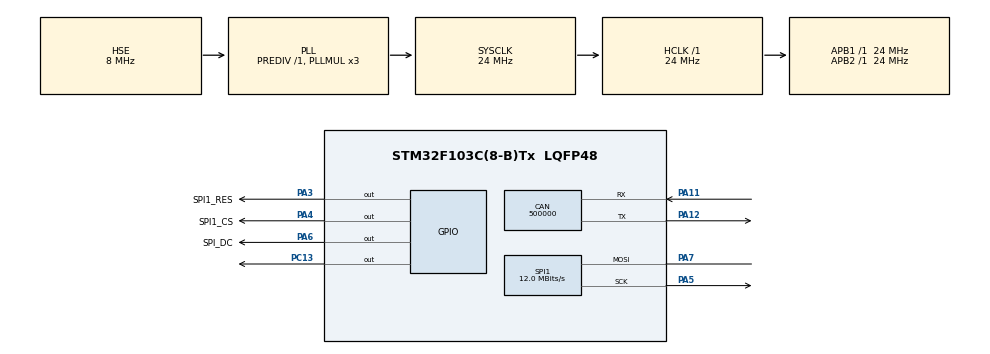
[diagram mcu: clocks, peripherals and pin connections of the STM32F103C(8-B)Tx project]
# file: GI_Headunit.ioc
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CAN.CalculateBaudRate=500000
CAN.CalculateTimeBit=2000
CAN.CalculateTimeQuantum=666.6666666666666
Mcu.Family=STM32F1
Mcu.Name=STM32F103C(8-B)Tx
Mcu.Package=LQFP48
NVIC.PriorityGroup=NVIC_PRIORITYGROUP_4
NVIC.SPI1_IRQn=true\:0\:0\:false\:false\:true\:true\:true\:true
PA11.Mode=CAN_Activate
PA11.Signal=CAN_RX
PA12.Mode=CAN_Activate
PA12.Signal=CAN_TX
PA13.Mode=Serial_Wire
PA13.Signal=SYS_JTMS-SWDIO
PA14.Mode=Serial_Wire
PA14.Signal=SYS_JTCK-SWCLK
PA3.GPIO_Label=SPI1_RES
PA3.Signal=GPIO_Output
PA4.GPIO_Label=SPI1_CS
PA4.Signal=GPIO_Output
PA5.Mode=Simplex_Bidirectional_Master
PA5.Signal=SPI1_SCK
PA6.GPIO_Label=SPI_DC
PA6.Signal=GPIO_Output
PA7.Mode=Simplex_Bidirectional_Master
PA7.Signal=SPI1_MOSI
PC13-TAMPER-RTC.Signal=GPIO_Output
PC14-OSC32_IN.Mode=LSE-External-Oscillator
PC14-OSC32_IN.Signal=RCC_OSC32_IN
PC15-OSC32_OUT.Mode=LSE-External-Oscillator
PC15-OSC32_OUT.Signal=RCC_OSC32_OUT
PD0-OSC_IN.Mode=HSE-External-Oscillator
PD0-OSC_IN.Signal=RCC_OSC_IN
PD1-OSC_OUT.Mode=HSE-External-Oscillator
PD1-OSC_OUT.Signal=RCC_OSC_OUT
ProjectManager.HeapSize=0x200
ProjectManager.StackSize=0x400
ProjectManager.TargetToolchain=Makefile
RCC.AHBFreq_Value=24000000
RCC.APB1Freq_Value=24000000
RCC.APB1TimFreq_Value=24000000
RCC.APB2Freq_Value=24000000
RCC.APB2TimFreq_Value=24000000
RCC.HCLKFreq_Value=24000000
RCC.PLLMUL=RCC_PLL_MUL3
RCC.PLLSourceVirtual=RCC_PLLSOURCE_HSE
RCC.RTCClockSelection=RCC_RTCCLKSOURCE_LSE
RCC.SYSCLKFreq_VALUE=24000000
RCC.SYSCLKSource=RCC_SYSCLKSOURCE_PLLCLK
RCC.USBFreq_Value=24000000
SPI1.BaudRatePrescaler=SPI_BAUDRATEPRESCALER_2
SPI1.CalculateBaudRate=12.0 MBits/s
SPI1.Direction=SPI_DIRECTION_1LINE
SPI1.Mode=SPI_MODE_MASTER
SPI1.VirtualType=VM_MASTER
board=custom

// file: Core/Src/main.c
/* USER CODE BEGIN Header */
/**
  ******************************************************************************
  * @file           : main.c
  * @brief          : Main program body
  ******************************************************************************
  * @attention
  *
  * Copyright (c) 2026 STMicroelectronics.
  * All rights reserved.
  *
  * This software is licensed under terms that can be found in the LICENSE file
  * in the root directory of this software component.
  * If no LICENSE file comes with this software, it is provided AS-IS.
  *
  ******************************************************************************
  */
/* USER CODE END Header */
#include "main.h"

CAN_HandleTypeDef hcan;

SPI_HandleTypeDef hspi1;

/* USER CODE BEGIN PV */
static const uint8_t glyph_bitmap[] = {
    /* U+0020 " " */

    /* U+0021 "!" */
    0xe, 0xa0, 0xd9, 0xd, 0x90, 0xc8, 0xc, 0x80,
    0xb7, 0xa, 0x60, 0x11, 0xb, 0x80, 0xd9
};
/* USER CODE END PV */

void SystemClock_Config(void);
static void MX_GPIO_Init(void);
static void MX_CAN_Init(void);
static void MX_SPI1_Init(void);

int main(void)
{

  /* MCU Configuration--------------------------------------------------------*/

  /* Reset of all peripherals, Initializes the Flash interface and the Systick. */
  HAL_Init();

  /* Configure the system clock */
  SystemClock_Config();

  /* Initialize all configured peripherals */
  MX_GPIO_Init();
  MX_CAN_Init();
  MX_SPI1_Init();
  /* USER CODE BEGIN 2 */
  initR(&hspi1);
  enableDisplay(false);
  enableInvert(true);
  //ST7735_SPI = &hspi1;
  //displayInit(Bcmd);
  //initR(INITR_MINI160x80);
  /**/
  for (uint16_t i=0; i<10; i++)
  {
    for (uint16_t j=0; j<3; j++)
    {
      st7735_buffer[((ST7735_WIDTH>>1)*(i+10)+10+j)>>1] &= (0xF0>>((j<<2)&0x04));
      st7735_buffer[((ST7735_WIDTH>>1)*(i+10)+10+j)>>1] |= glyph_bitmap[((i*3+j)>>1)]&(0xF0>>((j<<2)&0x04));
      //st7735_buffer[(ST7735_WIDTH>>2)*(i+10)+(10+(j>>1))] = st7735_buffer[(ST7735_WIDTH>>2)*(i+10)+(10+(j>>1))] | (0xF0>>((j<<2)&0x04));//glyph_bitmap[(i*3)+(j>>1)];
    }
  }
  //sendCommand(ST77XX_IDMON);
  /* USER CODE END 2 */

  /* Infinite loop */
  /* USER CODE BEGIN WHILE */
  //uint8_t x = 26;
  //uint8_t y = 1;
  //st7735_pallete[0]=0xF00F00;
  while (1)
  {
    /*
    for (uint16_t i=0; i<160; i++)
    {
      setAddrWindow(x, i+1, 80, 2);
      sendCommandData(ST77XX_RAMWR, TX_Buffer, 120);
      for (uint16_t j=0; j<120; j++)
      {
        TX_Buffer[j]++;
      }
    }*/
    redraw();
    enableDisplay(true);
    HAL_Delay(100);
    ////st7735_pallete[0]+=1001;
    //for (uint16_t j=0; j<ST7735_BUFFER; j++)
    //{
     // st7735_buffer[j]+=0x11;
    //}

    HAL_GPIO_TogglePin(GPIOC, GPIO_PIN_13);
    //sendCommand(ST77XX_IDMOFF);
    //setAddrWindow(x, y, 80, 160);
    //sendCommandData(ST77XX_RAMWR, TX_Buffer, 120);
    //x+=5;
    //y+=1;
    //HAL_SPI_Transmit_IT(&hspi1, TX_Buffer, 1); //Sending in Interrupt mode
    //test();
    //sendCommand(ST77XX_IDMON);
    //HAL_Delay(100);
    //HAL_Delay(100);
    /* USER CODE END WHILE */

  }
}

void SystemClock_Config(void)
{
  RCC_OscInitTypeDef RCC_OscInitStruct = {0};
  RCC_ClkInitTypeDef RCC_ClkInitStruct = {0};

  /** Initializes the RCC Oscillators according to the specified parameters
  * in the RCC_OscInitTypeDef structure.
  */
  RCC_OscInitStruct.OscillatorType = RCC_OSCILLATORTYPE_HSE;
  RCC_OscInitStruct.HSEState = RCC_HSE_ON;
  RCC_OscInitStruct.HSEPredivValue = RCC_HSE_PREDIV_DIV1;
  RCC_OscInitStruct.HSIState = RCC_HSI_ON;
  RCC_OscInitStruct.PLL.PLLState = RCC_PLL_ON;
  RCC_OscInitStruct.PLL.PLLSource = RCC_PLLSOURCE_HSE;
  RCC_OscInitStruct.PLL.PLLMUL = RCC_PLL_MUL3;
  if (HAL_RCC_OscConfig(&RCC_OscInitStruct) != HAL_OK)
  {
    Error_Handler();
  }

  /** Initializes the CPU, AHB and APB buses clocks
  */
  RCC_ClkInitStruct.ClockType = RCC_CLOCKTYPE_HCLK|RCC_CLOCKTYPE_SYSCLK
                              |RCC_CLOCKTYPE_PCLK1|RCC_CLOCKTYPE_PCLK2;
  RCC_ClkInitStruct.SYSCLKSource = RCC_SYSCLKSOURCE_PLLCLK;
  RCC_ClkInitStruct.AHBCLKDivider = RCC_SYSCLK_DIV1;
  RCC_ClkInitStruct.APB1CLKDivider = RCC_HCLK_DIV1;
  RCC_ClkInitStruct.APB2CLKDivider = RCC_HCLK_DIV1;

  if (HAL_RCC_ClockConfig(&RCC_ClkInitStruct, FLASH_LATENCY_0) != HAL_OK)
  {
    Error_Handler();
  }
}

static void MX_CAN_Init(void)
{

  hcan.Instance = CAN1;
  hcan.Init.Prescaler = 16;
  hcan.Init.Mode = CAN_MODE_NORMAL;
  hcan.Init.SyncJumpWidth = CAN_SJW_1TQ;
  hcan.Init.TimeSeg1 = CAN_BS1_1TQ;
  hcan.Init.TimeSeg2 = CAN_BS2_1TQ;
  hcan.Init.TimeTriggeredMode = DISABLE;
  hcan.Init.AutoBusOff = DISABLE;
  hcan.Init.AutoWakeUp = DISABLE;
  hcan.Init.AutoRetransmission = DISABLE;
  hcan.Init.ReceiveFifoLocked = DISABLE;
  hcan.Init.TransmitFifoPriority = DISABLE;
  if (HAL_CAN_Init(&hcan) != HAL_OK)
  {
    Error_Handler();
  }

}

static void MX_SPI1_Init(void)
{

  /* SPI1 parameter configuration*/
  hspi1.Instance = SPI1;
  hspi1.Init.Mode = SPI_MODE_MASTER;
  hspi1.Init.Direction = SPI_DIRECTION_1LINE;
  hspi1.Init.DataSize = SPI_DATASIZE_8BIT;
  hspi1.Init.CLKPolarity = SPI_POLARITY_LOW;
  hspi1.Init.CLKPhase = SPI_PHASE_1EDGE;
  hspi1.Init.NSS = SPI_NSS_SOFT;
  hspi1.Init.BaudRatePrescaler = SPI_BAUDRATEPRESCALER_2;
  hspi1.Init.FirstBit = SPI_FIRSTBIT_MSB;
  hspi1.Init.TIMode = SPI_TIMODE_DISABLE;
  hspi1.Init.CRCCalculation = SPI_CRCCALCULATION_DISABLE;
  hspi1.Init.CRCPolynomial = 10;
  if (HAL_SPI_Init(&hspi1) != HAL_OK)
  {
    Error_Handler();
  }

}

static void MX_GPIO_Init(void)
{
  GPIO_InitTypeDef GPIO_InitStruct = {0};

  /* GPIO Ports Clock Enable */
  __HAL_RCC_GPIOC_CLK_ENABLE();
  __HAL_RCC_GPIOD_CLK_ENABLE();
  __HAL_RCC_GPIOA_CLK_ENABLE();

  /*Configure GPIO pin Output Level */
  HAL_GPIO_WritePin(GPIOC, GPIO_PIN_13, GPIO_PIN_RESET);

  /*Configure GPIO pin Output Level */
  HAL_GPIO_WritePin(GPIOA, SPI1_RES_Pin|SPI1_CS_Pin|SPI_DC_Pin, GPIO_PIN_RESET);

  /*Configure GPIO pin : PC13 */
  GPIO_InitStruct.Pin = GPIO_PIN_13;
  GPIO_InitStruct.Mode = GPIO_MODE_OUTPUT_PP;
  GPIO_InitStruct.Pull = GPIO_NOPULL;
  GPIO_InitStruct.Speed = GPIO_SPEED_FREQ_LOW;
  HAL_GPIO_Init(GPIOC, &GPIO_InitStruct);

  /*Configure GPIO pins : SPI1_RES_Pin SPI1_CS_Pin SPI_DC_Pin */
  GPIO_InitStruct.Pin = SPI1_RES_Pin|SPI1_CS_Pin|SPI_DC_Pin;
  GPIO_InitStruct.Mode = GPIO_MODE_OUTPUT_PP;
  GPIO_InitStruct.Pull = GPIO_NOPULL;
  GPIO_InitStruct.Speed = GPIO_SPEED_FREQ_LOW;
  HAL_GPIO_Init(GPIOA, &GPIO_InitStruct);

}

void Error_Handler(void)
{
  __disable_irq();
  while (1)
  {
  }
}
